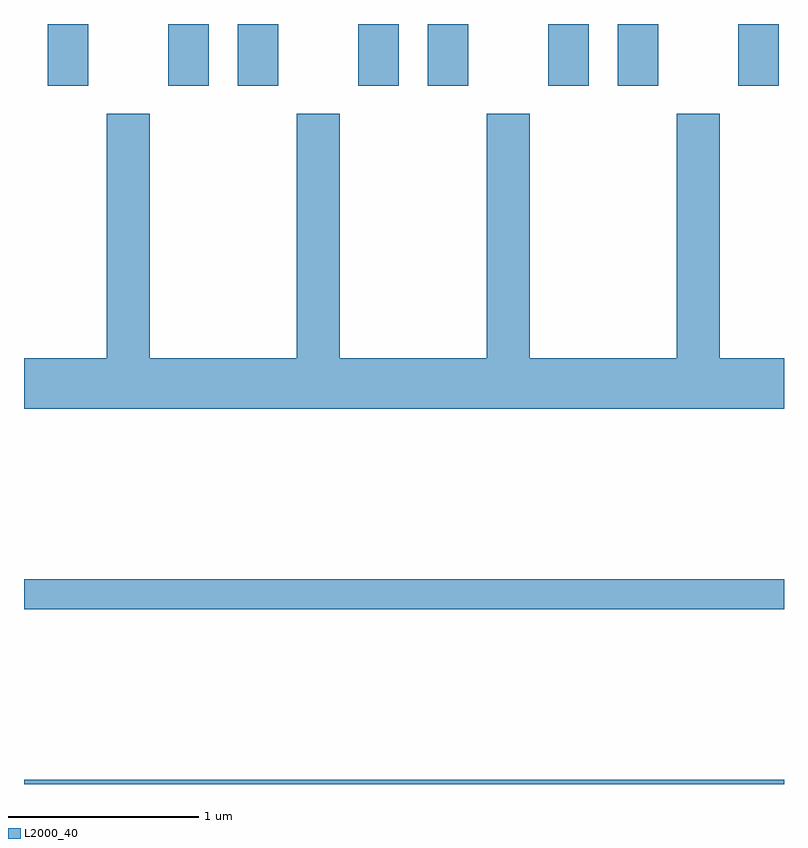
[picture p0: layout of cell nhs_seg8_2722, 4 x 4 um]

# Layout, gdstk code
import gdstk
lib = gdstk.Library(unit=1e-6, precision=1e-09)
def R(c, l, rs):  # rectangles x0, y0, x1, y1
    for r in rs: c.add(gdstk.rectangle(r[:2], r[2:], *l))
def P(c, l, *ps):  # polygons
    for p in ps: c.add(gdstk.Polygon(p, *l))
L2000_40 = (2000, 40)

nhs_seg8_2722 = lib.new_cell('nhs_seg8_2722')
R(nhs_seg8_2722, L2000_40, [(265.611,1934.342,269.611,1934.364), (265.611,1935.261,269.611,1935.419), (265.736,1938.016,265.949,1938.342), (266.371,1938.016,266.584,1938.342), (266.736,1938.016,266.949,1938.342), (267.371,1938.016,267.584,1938.342), (267.736,1938.016,267.949,1938.342), (268.371,1938.016,268.584,1938.342), (268.736,1938.016,268.949,1938.342), (269.371,1938.016,269.584,1938.342)])
P(nhs_seg8_2722, L2000_40, [(269.611,1936.584),(269.274,1936.584),(269.274,1937.869),(269.046,1937.869),(269.046,1936.584),(268.274,1936.584),(268.274,1937.869),(268.046,1937.869),(268.046,1936.584),(267.274,1936.584),(267.274,1937.869),(267.046,1937.869),(267.046,1936.584),(266.274,1936.584),(266.274,1937.869),(266.046,1937.869),(266.046,1936.584),(265.611,1936.584),(265.611,1936.316),(269.611,1936.316)])

lib.write_gds('nhs_seg8_2722.gds')
